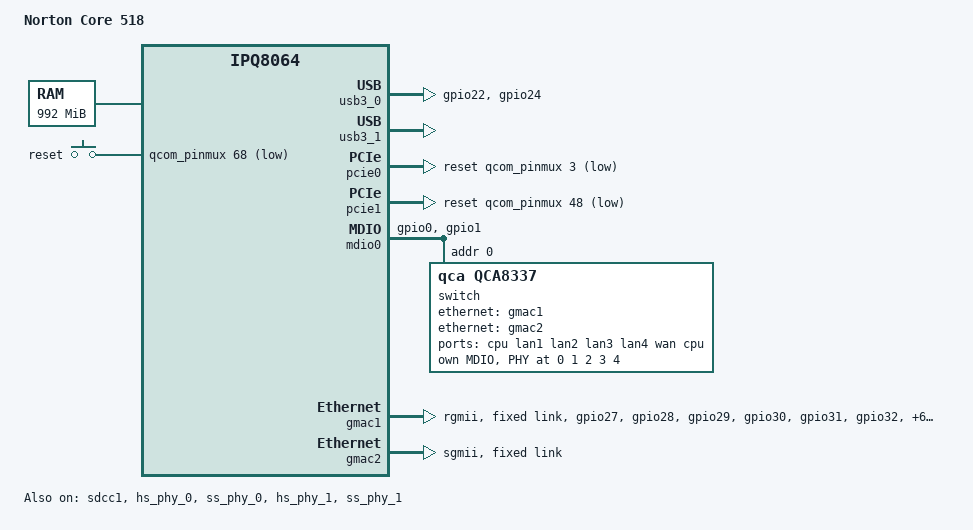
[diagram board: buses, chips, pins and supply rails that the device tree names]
// SPDX-License-Identifier: GPL-2.0-only
/*
 * Norton Core 518 (Symantec secure router)
 * SoC: Qualcomm IPQ8065, eMMC boot, 2x QCA9984 (PCIe), QCA8337-class switch
 *
 * Reconstructed from the factory QSDK 4.4.60 image (norton_core-518-...-qsdk-1.img)
 * and the 5.10 OpenWrt SNAPSHOT port shipped inside ntbsubootemmc-ipq806x-single.img.
 */

#include "qcom-ipq8065-smb208.dtsi"

#include <dt-bindings/input/input.h>
#include <dt-bindings/gpio/gpio.h>

/ {
	model = "Norton Core 518";
	compatible = "norton,core-518", "qcom,ipq8065", "qcom,ipq8064";

	memory@0 {
		device_type = "memory";
		reg = <0x42000000 0x3e000000>;
	};

	aliases {
		mdio-gpio0 = &mdio0;
		sdcc1 = &sdcc1;
	};

	chosen {
		bootargs = "rootfstype=squashfs,ext4 rootwait noinitrd fstools_ignore_partname=1";
		append-rootblock = "root=/dev/mmcblk0p";
		stdout-path = "serial0:115200n8";
	};

	keys {
		compatible = "gpio-keys";
		pinctrl-0 = <&button_pins>;
		pinctrl-names = "default";

		reset {
			label = "reset";
			gpios = <&qcom_pinmux 68 GPIO_ACTIVE_LOW>;
			linux,code = <KEY_RESTART>;
			debounce-interval = <60>;
			wakeup-source;
		};
	};
};

&qcom_pinmux {
	button_pins: button-pins {
		mux {
			pins = "gpio68";
			function = "gpio";
			drive-strength = <2>;
			bias-pull-up;
		};
	};

	mdio0_pins: mdio0-state {
		/delete-property/ pins;
		/delete-property/ function;
		/delete-property/ drive-strength;
		/delete-property/ bias-disable;

		mux {
			pins = "gpio0", "gpio1";
			function = "mdio";
			drive-strength = <8>;
			bias-disable;
		};

		clk {
			pins = "gpio1";
			input-disable;
		};
	};

	rgmii2_pins: rgmii2-state {
		/delete-property/ pins;
		/delete-property/ function;
		/delete-property/ drive-strength;
		/delete-property/ bias-disable;

		mux {
			pins = "gpio27", "gpio28", "gpio29",
				"gpio30", "gpio31", "gpio32",
				"gpio51", "gpio52", "gpio59",
				"gpio60", "gpio61", "gpio62";
			function = "rgmii2";
			drive-strength = <8>;
			bias-disable;
		};

		tx {
			pins = "gpio27", "gpio28", "gpio29",
				"gpio30", "gpio31", "gpio32";
			input-disable;
		};
	};

	usb0_pwr_en_pins: usb0-pwr-en-pins {
		mux {
			pins = "gpio22", "gpio24";
			function = "gpio";
			drive-strength = <12>;
		};

		pwr {
			pins = "gpio22";
			bias-pull-down;
			output-high;
		};

		ovc {
			pins = "gpio24";
			bias-pull-up;
		};
	};
};

&sdcc1 {
	status = "okay";
};

&adm_dma {
	status = "okay";
};

&usb3_0 {
	status = "okay";

	pinctrl-0 = <&usb0_pwr_en_pins>;
	pinctrl-names = "default";
};

&hs_phy_0 {
	status = "okay";
};

&ss_phy_0 {
	status = "okay";
};

&usb3_1 {
	status = "okay";
};

&hs_phy_1 {
	status = "okay";
};

&ss_phy_1 {
	status = "okay";
};

&pcie0 {
	status = "okay";

	reset-gpios = <&qcom_pinmux 3 GPIO_ACTIVE_LOW>;
	pinctrl-0 = <&pcie0_pins>;
	pinctrl-names = "default";
};

&pcie1 {
	status = "okay";

	reset-gpios = <&qcom_pinmux 48 GPIO_ACTIVE_LOW>;
	pinctrl-0 = <&pcie1_pins>;
	pinctrl-names = "default";
	max-link-speed = <1>;
};

&mdio0 {
	status = "okay";

	pinctrl-0 = <&mdio0_pins>;
	pinctrl-names = "default";

	switch@0 {
		compatible = "qca,qca8337";
		#address-cells = <1>;
		#size-cells = <0>;
		reg = <0>;

		ports {
			#address-cells = <1>;
			#size-cells = <0>;

			port@0 {
				reg = <0>;
				label = "cpu";
				ethernet = <&gmac1>;
				phy-mode = "rgmii";
				tx-internal-delay-ps = <1000>;
				rx-internal-delay-ps = <1000>;

				fixed-link {
					speed = <1000>;
					full-duplex;
				};
			};

			port@1 {
				reg = <1>;
				label = "lan1";
				phy-mode = "internal";
				phy-handle = <&phy_port1>;
			};

			port@2 {
				reg = <2>;
				label = "lan2";
				phy-mode = "internal";
				phy-handle = <&phy_port2>;
			};

			port@3 {
				reg = <3>;
				label = "lan3";
				phy-mode = "internal";
				phy-handle = <&phy_port3>;
			};

			port@4 {
				reg = <4>;
				label = "lan4";
				phy-mode = "internal";
				phy-handle = <&phy_port4>;
			};

			port@5 {
				reg = <5>;
				label = "wan";
				phy-mode = "internal";
				phy-handle = <&phy_port5>;
			};

			port@6 {
				reg = <6>;
				label = "cpu";
				ethernet = <&gmac2>;
				phy-mode = "sgmii";
				qca,sgmii-enable-pll;

				fixed-link {
					speed = <1000>;
					full-duplex;
				};
			};
		};

		mdio {
			#address-cells = <1>;
			#size-cells = <0>;

			phy_port1: phy@0 {
				reg = <0>;
			};

			phy_port2: phy@1 {
				reg = <1>;
			};

			phy_port3: phy@2 {
				reg = <2>;
			};

			phy_port4: phy@3 {
				reg = <3>;
			};

			phy_port5: phy@4 {
				reg = <4>;
			};
		};
	};
};

&gmac1 {
	status = "okay";

	phy-mode = "rgmii";
	qcom,id = <1>;
	qcom,phy_mdio_addr = <4>;
	qcom,poll_required = <0>;
	qcom,rgmii_delay = <1>;
	qcom,phy_mii_type = <0>;
	qcom,emulation = <0>;
	qcom,irq = <255>;

	pinctrl-0 = <&rgmii2_pins>;
	pinctrl-names = "default";

	fixed-link {
		speed = <1000>;
		full-duplex;
	};
};

&gmac2 {
	status = "okay";

	phy-mode = "sgmii";
	qcom,id = <2>;
	qcom,phy_mdio_addr = <0>;	/* none */
	qcom,poll_required = <0>;	/* no polling */
	qcom,rgmii_delay = <0>;
	qcom,phy_mii_type = <1>;
	qcom,emulation = <0>;
	qcom,irq = <258>;

	fixed-link {
		speed = <1000>;
		full-duplex;
	};
};
